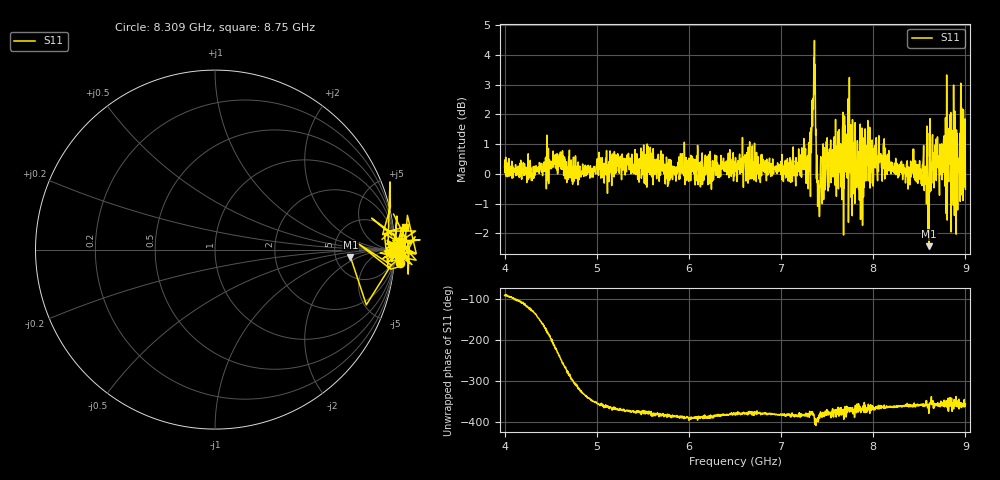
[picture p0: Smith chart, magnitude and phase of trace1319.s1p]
! Created with skrf 1.8.0 (http://scikit-rf.org).
# Hz S RI R 50.0
!freq ReS11 ImS11
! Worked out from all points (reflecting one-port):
!   1601 points, 4 GHz to 9 GHz, reference 50 ohm
!   lowest |S11| = -2.4 dB at 8.606 GHz (marker M1), VSWR 7.19, Z = 346 - j67.2 ohm
!   phase of S11 starts at -91 deg and turns -266 deg over the sweep
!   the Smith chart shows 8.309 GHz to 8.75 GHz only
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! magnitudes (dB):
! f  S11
! 4 GHz  0.2
! 4.625 GHz  0.2
! 4.756 GHz  -0.2
! 5.25 GHz  0.4
! 5.875 GHz  0.1
! 6.5 GHz  0.4
! 7.125 GHz  0.3
! 7.294 GHz  -0.5
! 7.316 GHz  0.0
! 7.347 GHz  2.5
! 7.356 GHz  3.9
! 7.369 GHz  3.7
! 7.4 GHz  -0.2
! 7.422 GHz  -0.4
! 7.478 GHz  -0.5
! 7.75 GHz  1.0
! 7.838 GHz  0.6
! 7.938 GHz  1.0
! 8.375 GHz  0.2
! 8.441 GHz  -0.1
! 8.581 GHz  -0.1
! 8.606 GHz  -2.4
! 8.634 GHz  -0.3
! 8.816 GHz  0.1
! 8.869 GHz  -1.1
! 8.919 GHz  0.0
! 8.972 GHz  1.0
! 9 GHz  -0.5
